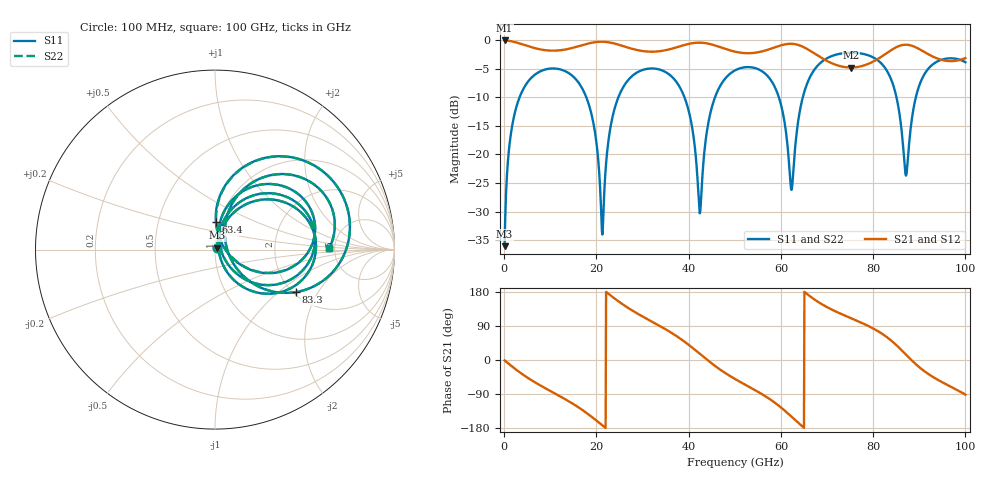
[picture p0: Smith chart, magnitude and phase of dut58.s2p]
! Touchstone file exported from HFSS 2026.1.0
!  File:  C:/ffzhzh/LocalFiles/Ansys_Project_Files/temp_train_TSV_RDL_58_1783446811_7600.aedt
!  Generated:  02:03:55 AM Jul  8, 2026
!  Design:  TSV_RDL
!  Project:  temp_train_TSV_RDL_58_1783446811_7600
! Variables:
!  h_bsmrdl = 4.81um
!  h_ox = 20um
!  h_rdl = 5um
!  h_sub = 59.84um
!  h_tmrdl = 4.9um
!  h_tsv = 59.84um
!  h_via = 3um
!  l_bsmrdl = 456.11um
!  l_sub = 2802.74um
!  l_tmrdl = 232um
!  m_sub = 200um
!  pitch = 55.2um
!  r_tsv = 10.98um
!  s_tmrdl = 10um
!  w_bsmrdl = 24.07um
!  w_sub = 500um
!  w_tmrdl = 11.4um
!  x_tsv_center1 = 237.7um
!  x_tsv_center2 = 717.88um
!  x_tsv_center3 = 961.28um
!  x_tsv_center4 = 1441.46um
!  x_tsv_center5 = 1684.86um
!  x_tsv_center6 = 2165.04um
# GHz S MA R 50.000000
! Terminal data exported
! Port[1] = TM_RDL1_1_T1
! Port[2] = TM_RDL5_1_T1
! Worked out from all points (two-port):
!   1000 points, 100 MHz to 100 GHz, reference 50 ohm
!   highest |S21| = -0.10 dB at 100 MHz (marker M1); lowest = -4.8 dB at 75.2 GHz (marker M2)
!   |S21| within 3 dB of the highest: start of sweep to 68.71 GHz; 81.47 GHz to 93.45 GHz (11.98 GHz wide, 13.7 % of centre)
!   lowest |S11| = -36.0 dB at 100 MHz (marker M3), VSWR 1.03, Z = 51.1 + j1.12 ohm
!   |S11| at or under -10 dB: 17.8 GHz to 24.77 GHz (6.972 GHz wide, 32.8 % of centre); 39.09 GHz to 45.72 GHz (6.639 GHz wide, 15.7 % of centre); 59.55 GHz to 64.76 GHz (5.208 GHz wide, 8.38 % of centre) (the widest 3 of 5)
!   |S22| runs from -36.0 to -2.2 dB; largest |S21 - S12| = 6.2e-14
!   S11 on the Smith chart (normalised r, x): 100 MHz: 1.02, +0.02; 63.4 GHz: 0.96, +0.30; 83.3 GHz: 2.08, -1.33; 100 GHz: 4.52, +0.16
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0.1  0.01584 43.6  0.9887 -1.0  0.9887 -1.0  0.01584 43.6
! Gamma 0 0 0 0
! Port Impedance 50 0 50 0
1.5  0.1552 69.6  0.9734 -15.0  0.9734 -15.0  0.1552 69.6
4.3  0.382 46.7  0.905 -40.4  0.905 -40.4  0.382 46.8
16.8  0.3848 -39.8  0.8965 -130.6  0.8965 -130.6  0.3847 -39.7
19.5  0.1742 -60.0  0.9522 -154.9  0.9522 -154.9  0.1742 -59.9
21.3  0.02002 11.8  0.9634 -172.4  0.9634 -172.4  0.02024 11.8
24.8  0.3182 60.4  0.9082 154.6  0.9082 154.6  0.3182 60.4
33.4  0.5549 1.8  0.7939 92.1  0.7939 92.1  0.5548 1.9
39.4  0.2915 -40.2  0.9094 45.7  0.9094 45.7  0.2915 -40.0
42.4  0.03065 9.3  0.9462 16.5  0.9462 16.5  0.03143 9.6
45.1  0.2644 73.2  0.9094 -9.9  0.9094 -9.9  0.2645 73.1
50.1  0.5432 37.7  0.7885 -50.5  0.7885 -50.5  0.5432 37.7
58.5  0.4011 -17.1  0.8559 -111.0  0.8559 -111.0  0.4011 -16.9
62.2  0.05054 15.8  0.9249 -148.4  0.9249 -148.4  0.05287 16.6
63.4  0.1528 88.2  0.9118 -161.8  0.9118 -161.8  0.1538 87.4
66.7  0.5068 69.1  0.7871 164.6  0.7871 164.6  0.5072 68.9
75.2  0.773 19.6  0.574 110.3  0.574 110.3  0.7731 19.6
83.3  0.5102 -27.6  0.7841 57.4  0.7841 57.4  0.5103 -27.6
83.4  0.5011 -28.4  0.789 56.4  0.789 56.4  0.5012 -28.4
87.1  0.06538 11.4  0.9077 14.4  0.9077 14.4  0.06616 11.4
91.1  0.5004 54.9  0.7839 -29.5  0.7839 -29.5  0.5005 54.8
100  0.6378 0.9  0.6939 -91.3  0.6939 -91.3  0.6379 1.0
